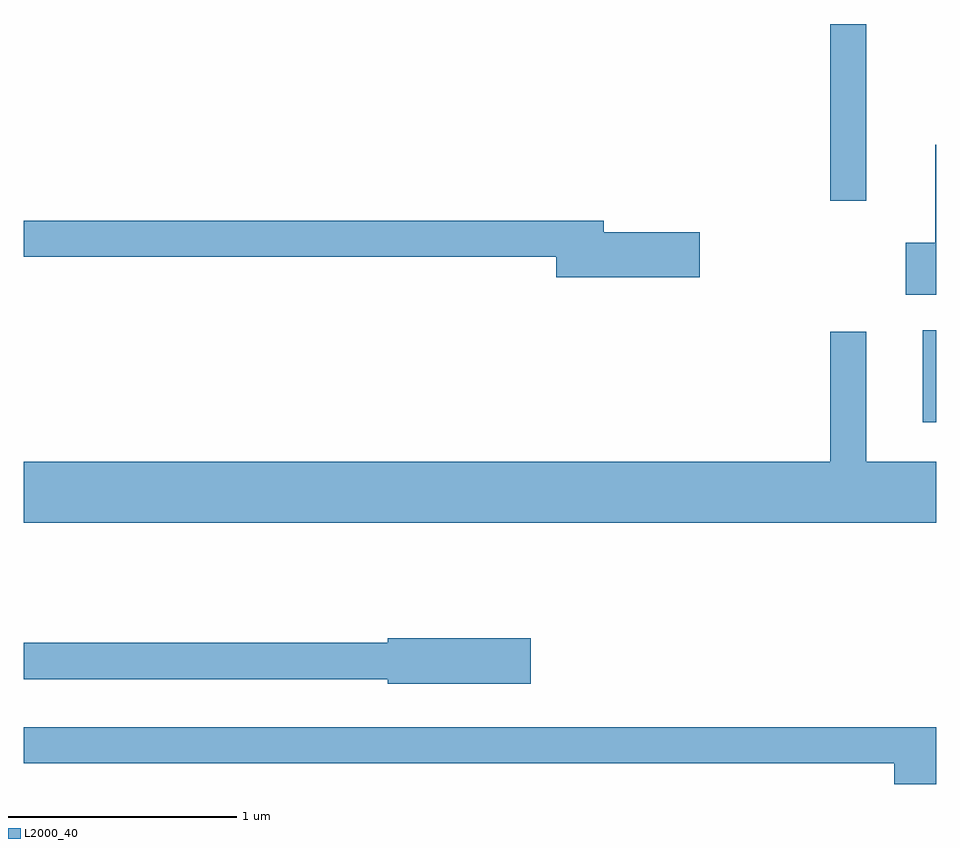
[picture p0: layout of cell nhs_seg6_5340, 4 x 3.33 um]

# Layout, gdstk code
import gdstk
lib = gdstk.Library(unit=1e-6, precision=1e-09)
def R(c, l, rs):  # rectangles x0, y0, x1, y1
    for r in rs: c.add(gdstk.rectangle(r[:2], r[2:], *l))
def P(c, l, *ps):  # polygons
    for p in ps: c.add(gdstk.Polygon(p, *l))
L2000_40 = (2000, 40)

nhs_seg6_5340 = lib.new_cell('nhs_seg6_5340')
R(nhs_seg6_5340, L2000_40, [(351.551,1610.416,351.611,1610.819), (351.146,1611.388,351.304,1612.162)])
P(nhs_seg6_5340, L2000_40, [(351.611,1611.633),(351.606,1611.633),(351.606,1611.204),(351.476,1611.204),(351.476,1610.976),(351.611,1610.976)],
  [(350.574,1611.249),(350.154,1611.249),(350.154,1611.299),(347.611,1611.299),(347.611,1611.141),(349.946,1611.141),(349.946,1611.051),(350.574,1611.051)],
  [(351.611,1610.244),(351.304,1610.244),(351.304,1610.813),(351.146,1610.813),(351.146,1610.244),(347.611,1610.244),(347.611,1609.976),(351.611,1609.976)],
  [(349.834,1609.469),(349.206,1609.469),(349.206,1609.449),(347.611,1609.449),(347.611,1609.291),(349.206,1609.291),(349.206,1609.271),(349.834,1609.271)],
  [(351.611,1609.079),(347.611,1609.079),(347.611,1608.921),(351.426,1608.921),(351.426,1608.831),(351.611,1608.831)])

lib.write_gds('nhs_seg6_5340.gds')
